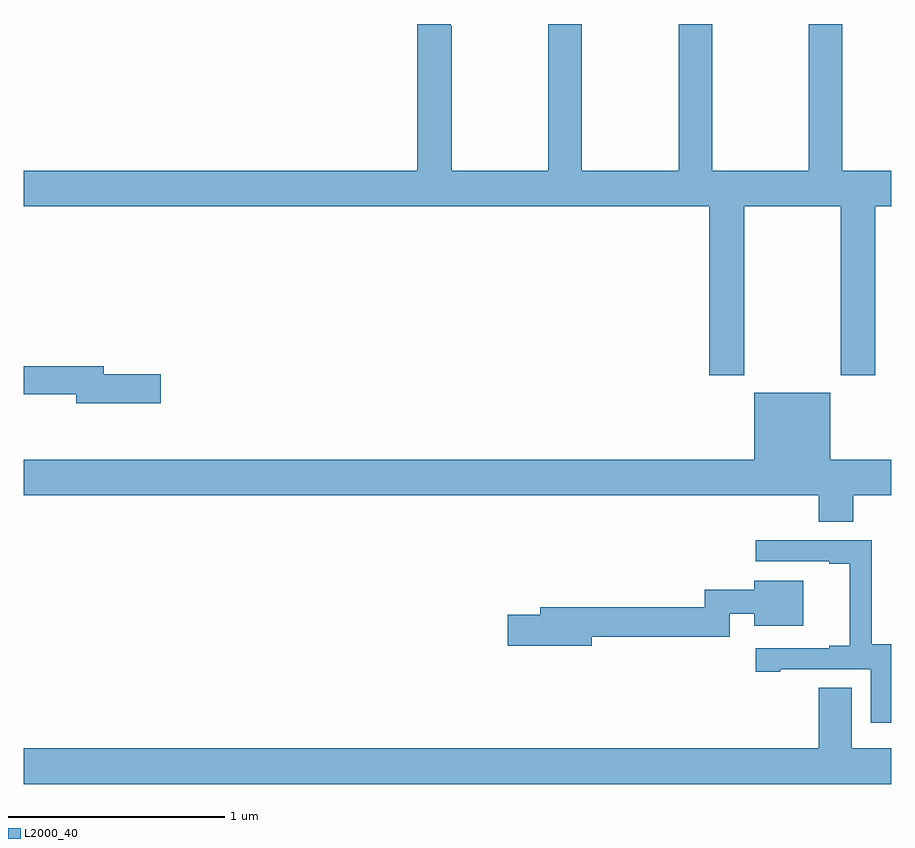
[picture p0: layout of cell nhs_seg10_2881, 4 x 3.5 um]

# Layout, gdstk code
import gdstk
lib = gdstk.Library(unit=1e-6, precision=1e-09)
def P(c, l, *ps):  # polygons
    for p in ps: c.add(gdstk.Polygon(p, *l))
L2000_40 = (2000, 40)

nhs_seg10_2881 = lib.new_cell('nhs_seg10_2881')
P(nhs_seg10_2881, L2000_40, [(270.321,1289.66),(270.766,1289.66),(270.766,1288.881),(270.926,1288.881),(270.926,1289.66),(271,1289.66),(271,1289.824),(270.774,1289.824),(270.774,1290.5),(270.619,1290.5),(270.619,1289.824),(270.174,1289.824),(270.174,1290.5),(270.019,1290.5),(270.019,1289.824),(269.574,1289.824),(269.574,1290.5),(269.419,1290.5),(269.419,1289.824),(268.974,1289.824),(268.974,1290.491),(268.969,1290.491),(268.969,1290.5),(268.814,1290.5),(268.814,1289.824),(267,1289.824),(267,1289.66),(270.161,1289.66),(270.161,1288.881),(270.321,1288.881)],
  [(267.631,1288.886),(267.37,1288.886),(267.37,1288.922),(267,1288.922),(267,1288.794),(267.242,1288.794),(267.242,1288.751),(267.631,1288.751)],
  [(270.825,1288.328),(271,1288.328),(271,1288.492),(270.718,1288.492),(270.718,1288.801),(270.368,1288.801),(270.368,1288.492),(267,1288.492),(267,1288.328),(270.665,1288.328),(270.665,1288.204),(270.825,1288.204)],
  [(271,1287.641),(270.909,1287.641),(270.909,1288.119),(270.375,1288.119),(270.375,1288.023),(270.713,1288.023),(270.713,1288.011),(270.809,1288.011),(270.809,1287.634),(270.713,1287.634),(270.713,1287.621),(270.375,1287.621),(270.375,1287.513),(270.487,1287.513),(270.487,1287.525),(270.906,1287.525),(270.906,1287.279),(271,1287.279)],
  [(269.62,1287.676),(270.255,1287.676),(270.255,1287.782),(270.368,1287.782),(270.368,1287.725),(270.595,1287.725),(270.595,1287.934),(270.368,1287.934),(270.368,1287.892),(270.139,1287.892),(270.139,1287.812),(269.381,1287.812),(269.381,1287.776),(269.232,1287.776),(269.232,1287.634),(269.62,1287.634)],
  [(271,1287.16),(270.817,1287.16),(270.817,1287.44),(270.665,1287.44),(270.665,1287.16),(267,1287.16),(267,1286.996),(271,1286.996)])

lib.write_gds('nhs_seg10_2881.gds')
